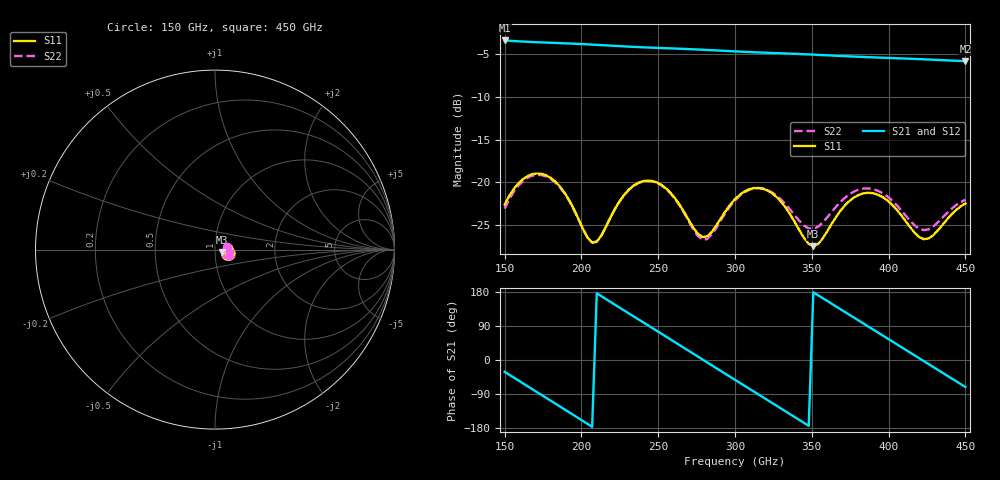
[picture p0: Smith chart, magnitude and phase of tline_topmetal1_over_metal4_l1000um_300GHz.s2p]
#  GHZ S DB R 50
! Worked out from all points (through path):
!   101 points, 150 GHz to 450 GHz, reference 50 ohm
!   highest |S21| = -3.42 dB at 150 GHz (marker M1); lowest = -5.8 dB at 450 GHz (marker M2)
!   group delay of S21, straight-line fit = 7.04 ps
!   lowest |S11| = -27.5 dB at 351 GHz (marker M3), VSWR 1.09, Z = 54.2 - j1.36 ohm
!   |S11| at or under -10 dB: start of sweep to end of sweep
!   |S22| runs from -27.0 to -19.1 dB; largest |S21 - S12| = 7.2e-14
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150  -22.60 8.4  -3.42 -31.2  -3.42 -31.2  -23.07 10.6
162  -19.61 -3.2  -3.55 -61.7  -3.55 -61.7  -19.84 -1.4
174  -19.00 -21.0  -3.65 -92.1  -3.65 -92.1  -19.15 -19.5
186  -20.48 -37.5  -3.74 -122.6  -3.74 -122.6  -20.58 -36.1
201  -25.42 -38.6  -3.85 -161.0  -3.85 -161.0  -25.45 -37.3
210  -26.94 -11.4  -3.94 176.1  -3.94 176.1  -26.90 -10.5
231  -20.83 -0.4  -4.15 122.7  -4.15 122.7  -20.86 -0.0
252  -20.29 -27.9  -4.31 69.6  -4.31 69.6  -20.34 -27.6
276  -26.04 -27.8  -4.48 8.6  -4.48 8.6  -26.31 -27.3
288  -24.99 -1.8  -4.59 -21.9  -4.59 -21.9  -25.25 0.6
300  -21.97 -1.9  -4.70 -52.3  -4.70 -52.3  -22.10 1.2
312  -20.68 -14.9  -4.80 -82.6  -4.80 -82.6  -20.72 -10.9
324  -21.26 -29.8  -4.88 -112.9  -4.88 -112.9  -21.15 -24.3
339  -24.67 -38.5  -4.99 -150.9  -4.99 -150.9  -23.87 -30.2
351  -27.45 -17.1  -5.08 178.7  -5.08 178.7  -25.44 -14.0
363  -24.83 3.9  -5.18 148.3  -5.18 148.3  -23.44 -1.0
378  -21.70 -4.3  -5.31 110.5  -5.31 110.5  -21.03 -9.1
390  -21.27 -18.2  -5.40 80.2  -5.40 80.2  -20.79 -22.0
402  -22.55 -30.1  -5.48 50.0  -5.48 50.0  -22.07 -32.7
414  -25.23 -30.7  -5.56 19.6  -5.56 19.6  -24.48 -32.6
426  -26.55 -11.2  -5.65 -10.7  -5.65 -10.7  -25.48 -16.2
450  -22.46 -5.0  -5.84 -71.2  -5.84 -71.2  -22.03 -13.9
